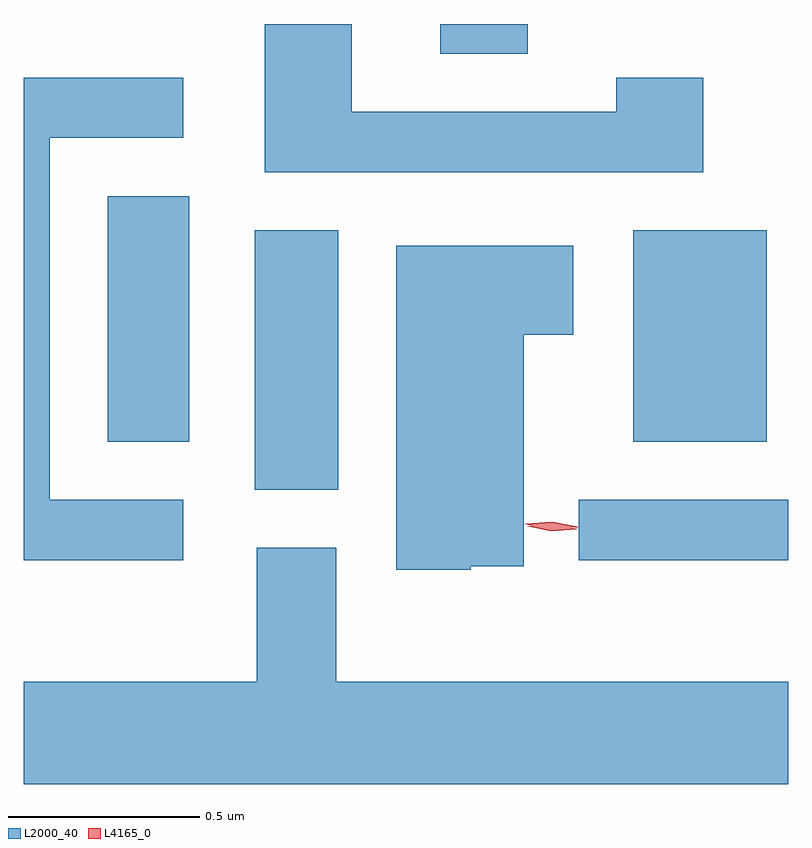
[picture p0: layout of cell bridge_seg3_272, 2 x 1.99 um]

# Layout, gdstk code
import gdstk
lib = gdstk.Library(unit=1e-6, precision=1e-09)
def R(c, l, rs):  # rectangles x0, y0, x1, y1
    for r in rs: c.add(gdstk.rectangle(r[:2], r[2:], *l))
def P(c, l, *ps):  # polygons
    for p in ps: c.add(gdstk.Polygon(p, *l))
L2000_40 = (2000, 40)
L4165_0 = (4165, 0)

bridge_seg3_272 = lib.new_cell('bridge_seg3_272')
R(bridge_seg3_272, L2000_40, [(1025.703,1137.701,1026.251,1137.859), (1024.856,1137.886,1025.074,1138.564), (1024.471,1138.011,1024.684,1138.654), (1025.846,1138.011,1026.194,1138.564), (1025.341,1139.026,1025.569,1139.104)])
P(bridge_seg3_272, L2000_40, [(1026.029,1138.964),(1025.801,1138.964),(1025.801,1138.874),(1025.109,1138.874),(1025.109,1139.104),(1024.881,1139.104),(1024.881,1138.716),(1026.029,1138.716)],
  [(1024.668,1137.859),(1024.319,1137.859),(1024.319,1138.806),(1024.668,1138.806),(1024.668,1138.964),(1024.251,1138.964),(1024.251,1137.701),(1024.668,1137.701)],
  [(1025.42,1137.686),(1025.559,1137.686),(1025.559,1138.291),(1025.689,1138.291),(1025.689,1138.524),(1025.226,1138.524),(1025.226,1137.676),(1025.42,1137.676)],
  [(1026.251,1137.384),(1025.069,1137.384),(1025.069,1137.734),(1024.861,1137.734),(1024.861,1137.384),(1024.251,1137.384),(1024.251,1137.116),(1026.251,1137.116)])
P(bridge_seg3_272, L4165_0, [(1025.632,1137.777),(1025.568,1137.79),(1025.568,1137.79),(1025.568,1137.79),(1025.632,1137.797),(1025.696,1137.784),(1025.697,1137.784),(1025.696,1137.783)],
  [(1025.631,1137.783),(1025.564,1137.796),(1025.564,1137.796),(1025.564,1137.797),(1025.633,1137.802),(1025.7,1137.789),(1025.7,1137.789),(1025.7,1137.788)])

lib.write_gds('bridge_seg3_272.gds')
